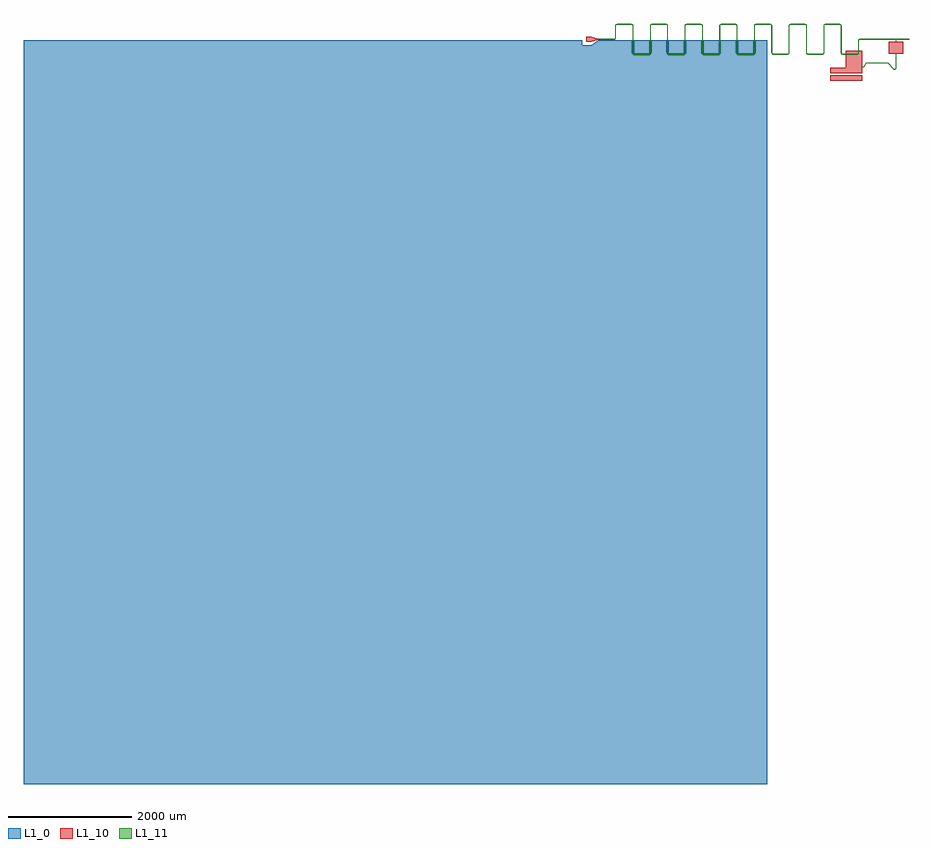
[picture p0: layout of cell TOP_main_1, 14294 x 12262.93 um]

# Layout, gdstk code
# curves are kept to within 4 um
import gdstk
lib = gdstk.Library(unit=1e-6, precision=1e-09)
def R(c, l, rs):  # rectangles x0, y0, x1, y1
    for r in rs: c.add(gdstk.rectangle(r[:2], r[2:], *l))
def P(c, l, *ps):  # polygons
    for p in ps: c.add(gdstk.Polygon(p, *l))
L1_0 = (1, 0)
L1_10 = (1, 10)
L1_11 = (1, 11)

ground_main_1 = lib.new_cell('ground_main_1')
P(ground_main_1, L1_0, [(6000,5775.025),(5794.054,5775.025),(5768,5763.868),(5536.287,5763.909),(5511.946,5775.025),(5234.054,5775.025),(5208,5763.868),(4976.287,5763.909),(4951.946,5775.025),(4674.054,5775.025),(4648,5763.868),(4416.287,5763.909),(4391.946,5775.025),(4114.054,5775.025),(4088,5763.868),(3856.287,5763.909),(3831.946,5775.025),(-6000,5775.025),(-6000,-6000),(6000,-6000)],
  [(3830.793,5776.293),(3822.041,5798.155),(3822,6000),(3270.428,6000),(3156,5918.4),(3018,5918.4),(3018,6000),(-6000,6000),(-6000,5775.025)],
  [(4390.793,5776.293),(4382.041,5798.155),(4382,6000),(4124,6000),(4123.959,5798.155),(4114.054,5775.025)],
  [(4950.793,5776.293),(4942.041,5798.155),(4942,6000),(4684,6000),(4683.959,5798.155),(4674.054,5775.025)],
  [(5510.793,5776.293),(5502.041,5798.155),(5502,6000),(5244,6000),(5243.959,5798.155),(5234.054,5775.025)],
  [(6000,6000),(5804,6000),(5803.959,5798.155),(5794.054,5775.025),(6000,5775.025)],
  [(4089.046,5785.907),(4101.961,5798.822),(4102,6000),(3844,6000),(3844,5799.868),(3848.478,5789.605)],
  [(4649.046,5785.907),(4661.961,5798.822),(4662,6000),(4404,6000),(4404,5799.868),(4408.478,5789.605)],
  [(5209.046,5785.907),(5221.961,5798.822),(5222,6000),(4964,6000),(4964,5799.868),(4968.478,5789.605)],
  [(5769.046,5785.907),(5781.961,5798.822),(5782,6000),(5524,6000),(5524,5799.868),(5528.478,5789.605)])

top_main_1 = lib.new_cell('TOP_main_1')
P(top_main_1, L1_10, [(7013,5470),(7533,5470),(7533,5560),(7013,5560),(7013,5470)],
  [(7013,5350),(7533,5350),(7533,5440),(7013,5440),(7013,5350)],
  [(7263,5561.4),(7533,5561.4),(7533,5831.4),(7263,5831.4),(7263,5561.4)],
  [(3278,6021.4),(3156,6056.4),(3076,6056.4),(3076,5976.4),(3156,5976.4),(3278,6011.4),(3303,6011.4),(3303,6021.4),(3278,6021.4)],
  [(8192.6,5779.2),(7963.4,5779.2),(7963.4,5957.2),(7981.4,5957.2),(7981.4,5797.2),(8001.8,5797.2),(8001.8,5957.2),(8019.8,5957.2),(8019.8,5797.2),(8040.2,5797.2),(8040.2,5957.2),(8058.2,5957.2),(8058.2,5797.2),(8078.6,5797.2),(8078.6,5957.2),(8096.6,5957.2),(8096.6,5797.2),(8117,5797.2),(8117,5957.2),(8135,5957.2),(8135,5797.2),(8155.4,5797.2),(8155.4,5957.2),(8173.4,5957.2),(8173.4,5797.2),(8192.6,5797.2),(8192.6,5779.2)],
  [(7963.4,5976.4),(8192.6,5976.4),(8192.6,5798.4),(8174.6,5798.4),(8174.6,5958.4),(8154.2,5958.4),(8154.2,5798.4),(8136.2,5798.4),(8136.2,5958.4),(8115.8,5958.4),(8115.8,5798.4),(8097.8,5798.4),(8097.8,5958.4),(8077.4,5958.4),(8077.4,5798.4),(8059.4,5798.4),(8059.4,5958.4),(8039,5958.4),(8039,5798.4),(8021,5798.4),(8021,5958.4),(8000.6,5958.4),(8000.6,5798.4),(7982.6,5798.4),(7982.6,5958.4),(7963.4,5958.4),(7963.4,5976.4)])
R(top_main_1, L1_11, [(8073,5739.2,8083,5779.2), (8073,5976.4,8083,6011.4), (7862,6011.4,8294,6021.4)])
P(top_main_1, L1_11, [(7533,5576.4),(7533,5566.4),(7560.986,5566.4),(7595.986,5631.4),(7698,5631.4),(7698,5641.4),(7590.014,5641.4),(7555.014,5576.4)],
  [(3838.158,5797.361),(3837.959,6234.502),(3836.532,6242.203),(3832.271,6250.566),(3826.88,6256.247),(3820.202,6260.339),(3808,6262.932),(3578,6262.932),(3565.798,6260.339),(3559.12,6256.247),(3553.729,6250.566),(3549.993,6243.683),(3548.164,6236.068),(3548,6041.4),(3546.097,6032.884),(3541.691,6026.821),(3535.362,6022.804),(3528,6021.4),(3303,6021.4),(3303,6011.4),(3528,6011.4),(3540.202,6013.994),(3546.88,6018.086),(3552.271,6023.766),(3556.007,6030.649),(3557.836,6038.264),(3558.039,6234.188),(3559.903,6241.448),(3565.252,6248.343),(3570.638,6251.528),(3578,6252.932),(3808,6252.932),(3815.362,6251.528),(3824.18,6244.688),(3827.961,6234.188),(3828,5799.868),(3830.594,5787.666),(3838.158,5777.376)],
  [(4089.57,5769.909),(4100.202,5772.461),(4109.213,5778.655),(4115.406,5787.666),(4117.959,5798.298),(4118,6232.932),(4121.113,6243.649),(4127.283,6249.819),(4136.744,6252.893),(4369.256,6252.893),(4376.516,6251.029),(4381.691,6247.512),(4386.097,6241.448),(4387.961,6234.188),(4387.961,6255.323),(4383,6258.913),(4375.765,6261.91),(4368,6262.932),(4136.43,6262.891),(4123,6258.913),(4116.787,6254.145),(4112.019,6247.932),(4109.022,6240.697),(4108,6232.932),(4108,5799.868),(4106.097,5791.352),(4100.748,5784.457),(4095.362,5781.272),(4088,5779.868),(3856.744,5779.907),(3849.484,5781.771),(3844.309,5785.288),(3839.903,5791.352),(3838.158,5797.361),(3838.158,5777.376),(3845.798,5772.461),(3854.864,5770.032)],
  [(4649.57,5769.909),(4660.202,5772.461),(4669.213,5778.655),(4675.406,5787.666),(4677.959,5798.298),(4678,6232.932),(4680.474,6242.567),(4687.283,6249.819),(4696.744,6252.893),(4928,6252.932),(4928,6262.932),(4696.43,6262.891),(4683,6258.913),(4676.787,6254.145),(4672.019,6247.932),(4669.022,6240.697),(4668,6232.932),(4667.961,5798.612),(4666.097,5791.352),(4661.691,5785.288),(4655.362,5781.272),(4648,5779.868),(4416.744,5779.907),(4407.283,5782.981),(4400.474,5790.233),(4398,5799.868),(4397.959,6234.502),(4394.73,6246.552),(4387.961,6255.323),(4388,5799.868),(4391.27,5786.248),(4395.706,5779.794),(4401.661,5774.708),(4408.729,5771.336),(4416.43,5769.909)],
  [(5209.57,5769.909),(5220.202,5772.461),(5229.213,5778.655),(5235.406,5787.666),(5237.959,5798.298),(5238.158,6255.424),(5231.27,6246.552),(5228.041,6234.502),(5228,5799.868),(5225.526,5790.233),(5218.717,5782.981),(5209.256,5779.907),(4978,5779.868),(4970.638,5781.272),(4964.309,5785.288),(4959.903,5791.352),(4958.039,5798.612),(4957.836,6236.068),(4954.73,6246.552),(4948.074,6255.227),(4938.751,6260.94),(4928,6262.932),(4928,6252.932),(4935.362,6251.528),(4941.691,6247.512),(4946.097,6241.448),(4947.961,6234.188),(4948,5799.868),(4949.022,5792.103),(4952.019,5784.868),(4956.787,5778.655),(4963,5773.887),(4976.43,5769.909)],
  [(5238.628,6237.906),(5241.113,6243.649),(5245.252,6248.343),(5250.638,6251.528),(5256.744,6252.893),(5488,6252.932),(5495.362,6251.528),(5500.748,6248.343),(5506.097,6241.448),(5508,6232.932),(5508,5799.868),(5509.022,5792.103),(5512.019,5784.868),(5516.787,5778.655),(5523,5773.887),(5536.43,5769.909),(5769.57,5769.909),(5778.751,5771.86),(5787.961,5777.477),(5787.961,5798.612),(5786.097,5791.352),(5781.691,5785.288),(5776.516,5781.771),(5769.256,5779.907),(5536.744,5779.907),(5527.283,5782.981),(5520.474,5790.233),(5518,5799.868),(5517.959,6234.502),(5514.73,6246.552),(5506.88,6256.247),(5498.751,6260.94),(5489.57,6262.891),(5256.43,6262.891),(5247.249,6260.94),(5238.158,6255.424)],
  [(6328,5779.868),(6096.744,5779.907),(6087.283,5782.981),(6080.474,5790.233),(6078,5799.868),(6077.959,6234.502),(6074.73,6246.552),(6068.074,6255.227),(6058.751,6260.94),(6049.57,6262.891),(5818,6262.932),(5805.798,6260.339),(5795.706,6253.006),(5789.993,6243.683),(5788,6232.932),(5787.961,5777.477),(5795.406,5787.666),(5798,5799.868),(5798.039,6234.188),(5799.903,6241.448),(5804.309,6247.512),(5810.638,6251.528),(5818,6252.932),(6049.256,6252.893),(6058.717,6249.819),(6065.526,6242.567),(6068,6232.932),(6068.041,5798.298),(6071.27,5786.248),(6077.926,5777.573),(6087.249,5771.86),(6096.43,5769.909),(6328,5769.868)],
  [(6329.57,5769.909),(6338.751,5771.86),(6348.074,5777.573),(6354.73,5786.248),(6357.836,5796.732),(6358.039,6234.188),(6359.903,6241.448),(6364.309,6247.512),(6370.638,6251.528),(6378,6252.932),(6609.256,6252.893),(6618.717,6249.819),(6625.526,6242.567),(6628,6232.932),(6628.041,5798.298),(6631.27,5786.248),(6638.158,5777.376),(6637.959,6234.502),(6633.981,6247.932),(6629.213,6254.145),(6623,6258.913),(6615.765,6261.91),(6608,6262.932),(6376.43,6262.891),(6363,6258.913),(6356.787,6254.145),(6352.019,6247.932),(6349.022,6240.697),(6348,6232.932),(6347.961,5798.612),(6346.097,5791.352),(6341.691,5785.288),(6335.362,5781.272),(6328,5779.868),(6328,5769.868)],
  [(6889.57,5769.909),(6900.202,5772.461),(6909.213,5778.655),(6915.406,5787.666),(6917.959,5798.298),(6918,6232.932),(6921.113,6243.649),(6927.283,6249.819),(6936.744,6252.893),(7169.256,6252.893),(7176.516,6251.029),(7181.691,6247.512),(7186.097,6241.448),(7187.961,6234.188),(7187.961,6255.323),(7183,6258.913),(7175.765,6261.91),(7168,6262.932),(6936.43,6262.891),(6923,6258.913),(6916.787,6254.145),(6912.019,6247.932),(6909.022,6240.697),(6908,6232.932),(6908,5799.868),(6906.097,5791.352),(6900.748,5784.457),(6895.362,5781.272),(6888,5779.868),(6656.744,5779.907),(6649.484,5781.771),(6644.309,5785.288),(6639.903,5791.352),(6638.158,5797.361),(6638.158,5777.376),(6645.798,5772.461),(6654.864,5770.032)],
  [(7449.57,5769.909),(7458.751,5771.86),(7468.074,5777.573),(7473.981,5784.868),(7477.631,5795.175),(7478.039,5992.656),(7481.113,6002.117),(7487.283,6008.287),(7498,6011.4),(7862,6011.4),(7862,6021.4),(7498,6021.4),(7487.249,6019.407),(7480.366,6015.671),(7473.729,6009.034),(7469.993,6002.151),(7468.164,5994.536),(7467.961,5798.612),(7466.097,5791.352),(7460.748,5784.457),(7455.362,5781.272),(7448,5779.868),(7211.82,5780.847),(7202.59,5787.119),(7198.039,5798.612),(7198,6232.932),(7195.406,6245.134),(7187.961,6255.323),(7188,5799.868),(7191.27,5786.248),(7195.706,5779.794),(7201.661,5774.708),(7208.729,5771.336),(7216.43,5769.909)],
  [(8083,5739.2),(8073,5739.2),(8072.838,5552.736),(8068.297,5542.39),(8058.874,5536.156),(8048.811,5535.718),(8039.811,5540.24),(7958.128,5632.421),(7951.881,5637.29),(7944.577,5640.354),(7936.725,5641.4),(7698,5641.4),(7698,5631.4),(7941.881,5630.724),(7951.716,5624.639),(8033.834,5532.195),(8040.337,5528.078),(8047.673,5525.751),(8061.421,5526.481),(8069.772,5530.4),(8075.548,5535.486),(8080.494,5543.272),(8082.841,5552.193)])
top_main_1.add(gdstk.Reference(ground_main_1, (0,0)))

lib.write_gds('TOP_main_1.gds')
